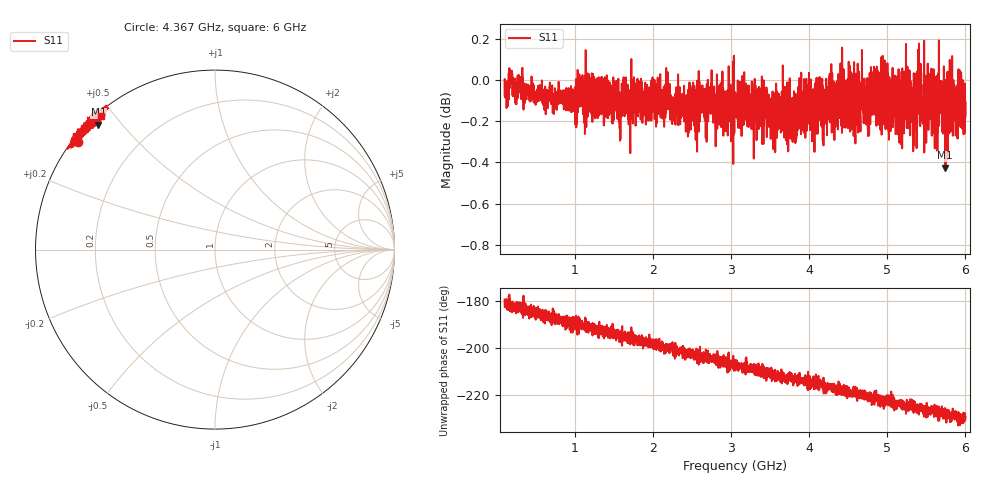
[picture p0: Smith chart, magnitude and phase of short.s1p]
# HZ S DB R 50
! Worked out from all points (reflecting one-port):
!   4001 points, 100 MHz to 6 GHz, reference 50 ohm
!   lowest |S11| = -0.4 dB at 5.742 GHz (marker M1), VSWR 40.89, Z = 1.45 + j21.7 ohm
!   phase of S11 starts at -179 deg and turns -50 deg over the sweep
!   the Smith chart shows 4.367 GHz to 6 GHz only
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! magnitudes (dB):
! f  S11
! 100 MHz  -0.1
! 175.2 MHz  0.0
! 837.5 MHz  -0.1
! 1.52 GHz  0.0
! 1.575 GHz  -0.2
! 1.63 GHz  -0.2
! 1.689 GHz  -0.2
! 1.752 GHz  -0.1
! 2.312 GHz  -0.1
! 2.43 GHz  -0.2
! 2.491 GHz  -0.1
! 2.55 GHz  0.0
! 2.609 GHz  -0.1
! 2.737 GHz  0.0
! 2.799 GHz  -0.1
! 3.05 GHz  -0.1
! 3.788 GHz  -0.3
! 4.525 GHz  -0.1
! 5.263 GHz  -0.2
! 5.355 GHz  -0.2
! 5.407 GHz  0.0
! 5.469 GHz  -0.1
! 5.531 GHz  -0.1
! 5.621 GHz  -0.3
! 5.681 GHz  0.0
! 5.742 GHz  -0.4
! 5.938 GHz  -0.2
! 6 GHz  -0.2
